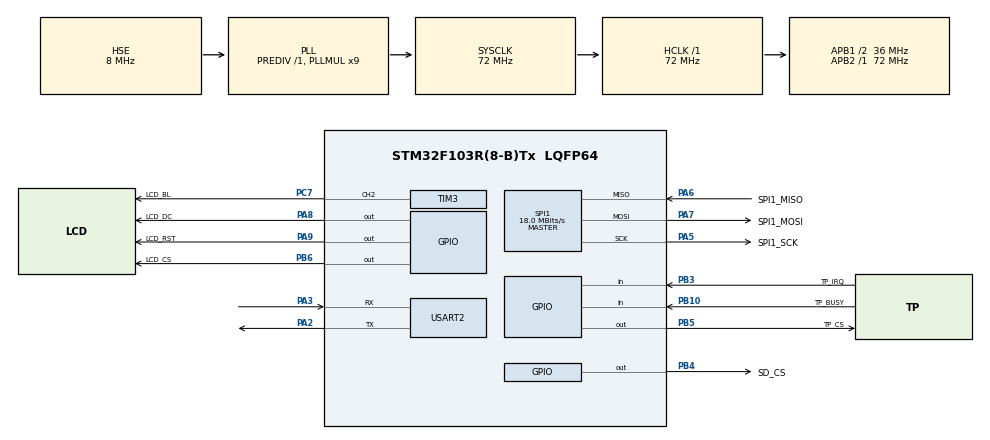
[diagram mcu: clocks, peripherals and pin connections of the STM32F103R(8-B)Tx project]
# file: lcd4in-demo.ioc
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Mcu.Family=STM32F1
Mcu.Name=STM32F103R(8-B)Tx
Mcu.Package=LQFP64
NVIC.PriorityGroup=NVIC_PRIORITYGROUP_4
PA13.Mode=Serial_Wire
PA13.Signal=SYS_JTMS-SWDIO
PA14.Mode=Serial_Wire
PA14.Signal=SYS_JTCK-SWCLK
PA2.Mode=Asynchronous
PA2.Signal=USART2_TX
PA3.Mode=Asynchronous
PA3.Signal=USART2_RX
PA5.GPIO_Label=SPI1_SCK
PA5.Mode=Full_Duplex_Master
PA5.Signal=SPI1_SCK
PA6.GPIO_Label=SPI1_MISO
PA6.Mode=Full_Duplex_Master
PA6.Signal=SPI1_MISO
PA7.GPIO_Label=SPI1_MOSI
PA7.Mode=Full_Duplex_Master
PA7.Signal=SPI1_MOSI
PA8.GPIO_Label=LCD_DC
PA8.Signal=GPIO_Output
PA9.GPIO_Label=LCD_RST
PA9.Signal=GPIO_Output
PB10.GPIO_Label=TP_BUSY
PB10.Signal=GPIO_Input
PB3.GPIO_Label=TP_IRQ
PB3.Signal=GPIO_Input
PB4.GPIO_Label=SD_CS
PB4.PinState=GPIO_PIN_SET
PB4.Signal=GPIO_Output
PB5.GPIO_Label=TP_CS
PB5.PinState=GPIO_PIN_SET
PB5.Signal=GPIO_Output
PB6.GPIO_Label=LCD_CS
PB6.PinState=GPIO_PIN_SET
PB6.Signal=GPIO_Output
PC7.GPIO_Label=LCD_BL
PC7.Signal=S_TIM3_CH2
PD0-OSC_IN.Mode=HSE-External-Oscillator
PD0-OSC_IN.Signal=RCC_OSC_IN
PD1-OSC_OUT.Mode=HSE-External-Oscillator
PD1-OSC_OUT.Signal=RCC_OSC_OUT
ProjectManager.HeapSize=0x800
ProjectManager.StackSize=0x800
ProjectManager.TargetToolchain=STM32CubeIDE
RCC.AHBFreq_Value=72000000
RCC.APB1CLKDivider=RCC_HCLK_DIV2
RCC.APB1Freq_Value=36000000
RCC.APB1TimFreq_Value=72000000
RCC.APB2Freq_Value=72000000
RCC.APB2TimFreq_Value=72000000
RCC.HCLKFreq_Value=72000000
RCC.PLLMUL=RCC_PLL_MUL9
RCC.PLLSourceVirtual=RCC_PLLSOURCE_HSE
RCC.SYSCLKFreq_VALUE=72000000
RCC.SYSCLKSource=RCC_SYSCLKSOURCE_PLLCLK
RCC.USBFreq_Value=72000000
SH.S_TIM3_CH2.0=TIM3_CH2,PWM Generation2 CH2
SPI1.BaudRatePrescaler=SPI_BAUDRATEPRESCALER_4
SPI1.CalculateBaudRate=18.0 MBits/s
SPI1.Direction=SPI_DIRECTION_2LINES
SPI1.Mode=SPI_MODE_MASTER
SPI1.VirtualType=VM_MASTER
TIM3.Channel-PWM\ Generation2\ CH2=TIM_CHANNEL_2
TIM3.Period=1000-1
TIM3.Prescaler=720-1
USART2.VirtualMode=VM_ASYNC
board=lcd4in-demo

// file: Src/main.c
/**
  ******************************************************************************
  * File Name          : main.c
  * Description        : Main program body
  ******************************************************************************
  ** This notice applies to any and all portions of this file
  * that are not between comment pairs USER CODE BEGIN and
  * USER CODE END. Other portions of this file, whether
  * inserted by the user or by software development tools
  * are owned by their respective copyright owners.
  *
  * COPYRIGHT(c) 2026 STMicroelectronics
  *
  * Redistribution and use in source and binary forms, with or without modification,
  * are permitted provided that the following conditions are met:
  *   1. Redistributions of source code must retain the above copyright notice,
  *      this list of conditions and the following disclaimer.
  *   2. Redistributions in binary form must reproduce the above copyright notice,
  *      this list of conditions and the following disclaimer in the documentation
  *      and/or other materials provided with the distribution.
  *   3. Neither the name of STMicroelectronics nor the names of its contributors
  *      may be used to endorse or promote products derived from this software
  *      without specific prior written permission.
  *
  * THIS SOFTWARE IS PROVIDED BY THE COPYRIGHT HOLDERS AND CONTRIBUTORS "AS IS"
  * AND ANY EXPRESS OR IMPLIED WARRANTIES, INCLUDING, BUT NOT LIMITED TO, THE
  * IMPLIED WARRANTIES OF MERCHANTABILITY AND FITNESS FOR A PARTICULAR PURPOSE ARE
  * DISCLAIMED. IN NO EVENT SHALL THE COPYRIGHT HOLDER OR CONTRIBUTORS BE LIABLE
  * FOR ANY DIRECT, INDIRECT, INCIDENTAL, SPECIAL, EXEMPLARY, OR CONSEQUENTIAL
  * DAMAGES (INCLUDING, BUT NOT LIMITED TO, PROCUREMENT OF SUBSTITUTE GOODS OR
  * SERVICES; LOSS OF USE, DATA, OR PROFITS; OR BUSINESS INTERRUPTION) HOWEVER
  * CAUSED AND ON ANY THEORY OF LIABILITY, WHETHER IN CONTRACT, STRICT LIABILITY,
  * OR TORT (INCLUDING NEGLIGENCE OR OTHERWISE) ARISING IN ANY WAY OUT OF THE USE
  * OF THIS SOFTWARE, EVEN IF ADVISED OF THE POSSIBILITY OF SUCH DAMAGE.
  *
  ******************************************************************************
  */
#include "main.h"
#include "stm32f1xx_hal.h"
#include "spi.h"
#include "tim.h"
#include "usart.h"
#include "gpio.h"

/* USER CODE BEGIN Includes */
#include <stdint.h>
#include <stdio.h>
#include "DEV_Config.h"
#include "LCD_Driver.h"
#include "LCD_GUI.h"
#include "LCD_Touch.h"
#include "LCD_Bmp.h"
/* USER CODE END Includes */

/* USER CODE BEGIN PV */
/* Private variables ---------------------------------------------------------*/
//char* pDirectoryFiles[MAX_BMP_FILES];
//FATFS fs;
//FRESULT f_res;
/* USER CODE END PV */

void SystemClock_Config(void);

/* USER CODE BEGIN PFP */
/* Private function prototypes -----------------------------------------------*/

/* USER CODE END PFP */

int main(void)
{

  /* MCU Configuration----------------------------------------------------------*/

  /* Reset of all peripherals, Initializes the Flash interface and the Systick. */
  HAL_Init();

  /* Configure the system clock */
  SystemClock_Config();

  /* Initialize all configured peripherals */
  MX_GPIO_Init();
  MX_SPI1_Init();
  MX_TIM3_Init();
  MX_USART2_UART_Init();

  /* USER CODE BEGIN 2 */
    printf("This is a 4inch TFT Touch Shield Demo\r\n");
	System_Init();

	printf("Init SDcard...\r\n");
	SD_Init();

	LCD_SCAN_DIR Lcd_ScanDir = SCAN_DIR_DFT;//SCAN_DIR_DFT = D2U_L2R
	printf("Init LCD...\r\n");
	LCD_Init(Lcd_ScanDir, 800);
	printf("Init TouchPad...\r\n");
	TP_Init(Lcd_ScanDir);

	printf("**********LCD Show**********\r\n");
	GUI_Show();
	Driver_Delay_ms(1000);

	printf("**********Show SD card pic**********\r\n");
	LCD_SCAN_DIR Bmp_ScanDir = D2U_R2L;
	LCD_Show_bmp(Bmp_ScanDir , Lcd_ScanDir);

	printf("**********Touch Draw Board**********\r\n");
	TP_GetAdFac();//Get the default calibration factor
	TP_Dialog();//initialize the drawing board

//	DEV_TIME sDev_time;
//	sDev_time.Hour = 23;
//	sDev_time.Min = 50;
//	sDev_time.Sec = 56;
  /* USER CODE END 2 */

  /* Infinite loop */
  /* USER CODE BEGIN WHILE */
  while (1)
  {
	  TP_DrawBoard();
//	  sDev_time.Sec++;
//    GUI_Showtime(200, 150, 327, 197, &sDev_time, RED);
//    Driver_Delay_ms(50);//Analog clock 1s

  /* USER CODE END WHILE */

  }

}

/** System Clock Configuration
*/
void SystemClock_Config(void)
{

  RCC_OscInitTypeDef RCC_OscInitStruct;
  RCC_ClkInitTypeDef RCC_ClkInitStruct;

    /**Initializes the CPU, AHB and APB busses clocks
    */
  RCC_OscInitStruct.OscillatorType = RCC_OSCILLATORTYPE_HSE;
  RCC_OscInitStruct.HSEState = RCC_HSE_ON;
  RCC_OscInitStruct.HSEPredivValue = RCC_HSE_PREDIV_DIV1;
  RCC_OscInitStruct.HSIState = RCC_HSI_ON;
  RCC_OscInitStruct.PLL.PLLState = RCC_PLL_ON;
  RCC_OscInitStruct.PLL.PLLSource = RCC_PLLSOURCE_HSE;
  RCC_OscInitStruct.PLL.PLLMUL = RCC_PLL_MUL9;
  if (HAL_RCC_OscConfig(&RCC_OscInitStruct) != HAL_OK)
  {
    _Error_Handler(__FILE__, __LINE__);
  }

    /**Initializes the CPU, AHB and APB busses clocks
    */
  RCC_ClkInitStruct.ClockType = RCC_CLOCKTYPE_HCLK|RCC_CLOCKTYPE_SYSCLK
                              |RCC_CLOCKTYPE_PCLK1|RCC_CLOCKTYPE_PCLK2;
  RCC_ClkInitStruct.SYSCLKSource = RCC_SYSCLKSOURCE_PLLCLK;
  RCC_ClkInitStruct.AHBCLKDivider = RCC_SYSCLK_DIV1;
  RCC_ClkInitStruct.APB1CLKDivider = RCC_HCLK_DIV2;
  RCC_ClkInitStruct.APB2CLKDivider = RCC_HCLK_DIV1;

  if (HAL_RCC_ClockConfig(&RCC_ClkInitStruct, FLASH_LATENCY_2) != HAL_OK)
  {
    _Error_Handler(__FILE__, __LINE__);
  }

    /**Configure the Systick interrupt time
    */
  HAL_SYSTICK_Config(HAL_RCC_GetHCLKFreq()/1000);

    /**Configure the Systick
    */
  HAL_SYSTICK_CLKSourceConfig(SYSTICK_CLKSOURCE_HCLK);

  /* SysTick_IRQn interrupt configuration */
  HAL_NVIC_SetPriority(SysTick_IRQn, 0, 0);
}

void _Error_Handler(char * file, int line)
{
  while(1)
  {
  }
}

/************************ (C) COPYRIGHT STMicroelectronics *****END OF FILE****/
